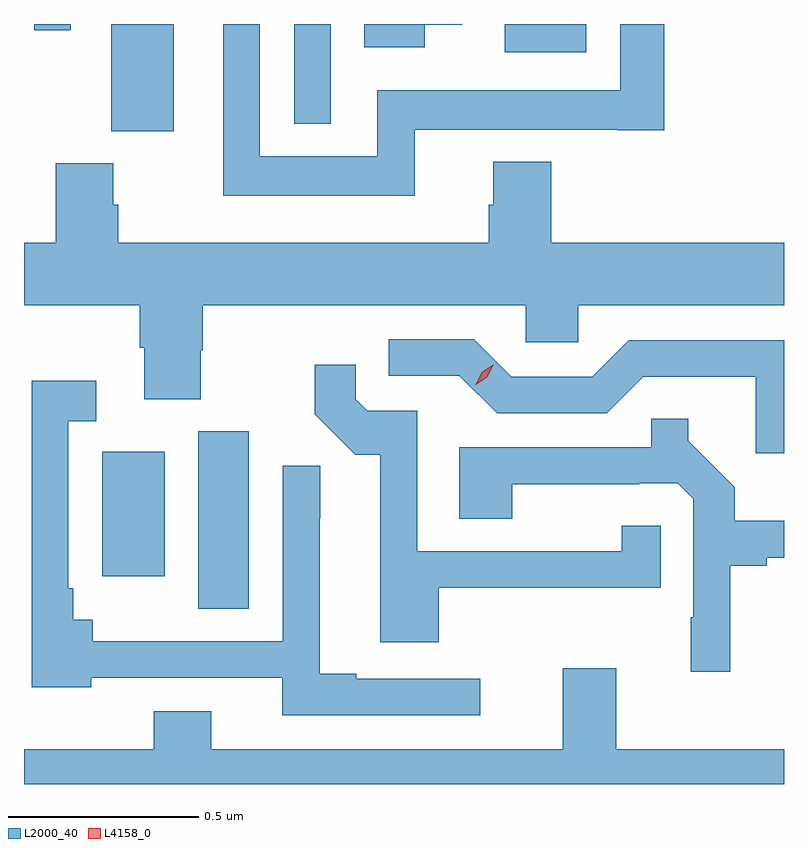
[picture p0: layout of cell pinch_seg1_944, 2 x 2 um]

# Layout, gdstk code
import gdstk
lib = gdstk.Library(unit=1e-6, precision=1e-09)
def R(c, l, rs):  # rectangles x0, y0, x1, y1
    for r in rs: c.add(gdstk.rectangle(r[:2], r[2:], *l))
def P(c, l, *ps):  # polygons
    for p in ps: c.add(gdstk.Polygon(p, *l))
L2000_40 = (2000, 40)
L4158_0 = (4158, 0)

pinch_seg1_944 = lib.new_cell('pinch_seg1_944')
R(pinch_seg1_944, L2000_40, [(336.068,580.237,336.202,580.704), (335.816,580.323,335.98,580.651), (335.84,581.494,336.004,581.776), (336.321,581.513,336.417,581.776), (336.875,581.702,337.09,581.776), (335.637,581.76,335.733,581.776)])
P(pinch_seg1_944, L2000_40, [(336.664,581.774),(336.763,581.774),(336.763,581.776),(336.506,581.776),(336.506,581.715),(336.664,581.715)],
  [(336.638,581.498),(337.172,581.498),(337.172,581.496),(337.295,581.496),(337.295,581.776),(337.179,581.776),(337.179,581.602),(336.54,581.602),(336.54,581.428),(336.231,581.428),(336.231,581.776),(336.134,581.776),(336.134,581.324),(336.638,581.324)],
  [(336.075,580.917),(336.08,580.917),(336.08,581.036),(336.93,581.036),(336.93,580.938),(337.068,580.938),(337.068,581.036),(337.61,581.036),(337.61,581.2),(336.998,581.2),(336.998,581.413),(336.845,581.413),(336.845,581.301),(336.833,581.301),(336.833,581.2),(335.858,581.2),(335.858,581.3),(335.845,581.3),(335.845,581.409),(335.693,581.409),(335.693,581.2),(335.61,581.2),(335.61,581.036),(335.915,581.036),(335.915,580.924),(335.927,580.924),(335.927,580.789),(336.075,580.789)],
  [(337.61,580.944),(337.202,580.944),(337.106,580.848),(336.892,580.848),(336.793,580.947),(336.57,580.947),(336.57,580.851),(336.756,580.851),(336.855,580.752),(337.143,580.752),(337.239,580.848),(337.535,580.848),(337.535,580.646),(337.61,580.646)],
  [(336.701,580.292),(337.286,580.292),(337.286,580.456),(337.183,580.456),(337.183,580.389),(336.645,580.389),(336.645,580.758),(336.513,580.758),(336.483,580.788),(336.483,580.879),(336.375,580.879),(336.375,580.749),(336.482,580.643),(336.548,580.643),(336.548,580.149),(336.701,580.149)],
  [(336.811,580.053),(336.484,580.053),(336.484,580.066),(336.388,580.066),(336.388,580.476),(336.39,580.476),(336.39,580.614),(336.291,580.614),(336.291,580.152),(335.791,580.152),(335.791,580.208),(335.74,580.208),(335.74,580.291),(335.727,580.291),(335.727,580.731),(335.8,580.731),(335.8,580.837),(335.631,580.837),(335.631,580.031),(335.787,580.031),(335.787,580.056),(336.29,580.056),(336.29,579.957),(336.811,579.957)],
  [(337.468,580.351),(337.564,580.351),(337.564,580.371),(337.61,580.371),(337.61,580.469),(337.48,580.469),(337.48,580.557),(337.358,580.679),(337.358,580.737),(337.26,580.737),(337.26,580.662),(336.755,580.662),(336.755,580.474),(336.895,580.474),(336.895,580.565),(337.229,580.565),(337.229,580.568),(337.33,580.568),(337.371,580.527),(337.371,580.215),(337.364,580.215),(337.364,580.071),(337.468,580.071)],
  [(337.61,579.868),(337.168,579.868),(337.168,580.081),(337.028,580.081),(337.028,579.868),(336.103,579.868),(336.103,579.967),(335.951,579.967),(335.951,579.868),(335.61,579.868),(335.61,579.776),(337.61,579.776)])
P(pinch_seg1_944, L4158_0, [(336.798,580.826),(336.798,580.826),(336.814,580.859),(336.845,580.879),(336.845,580.879),(336.845,580.879),(336.829,580.846),(336.798,580.826)])

lib.write_gds('pinch_seg1_944.gds')
